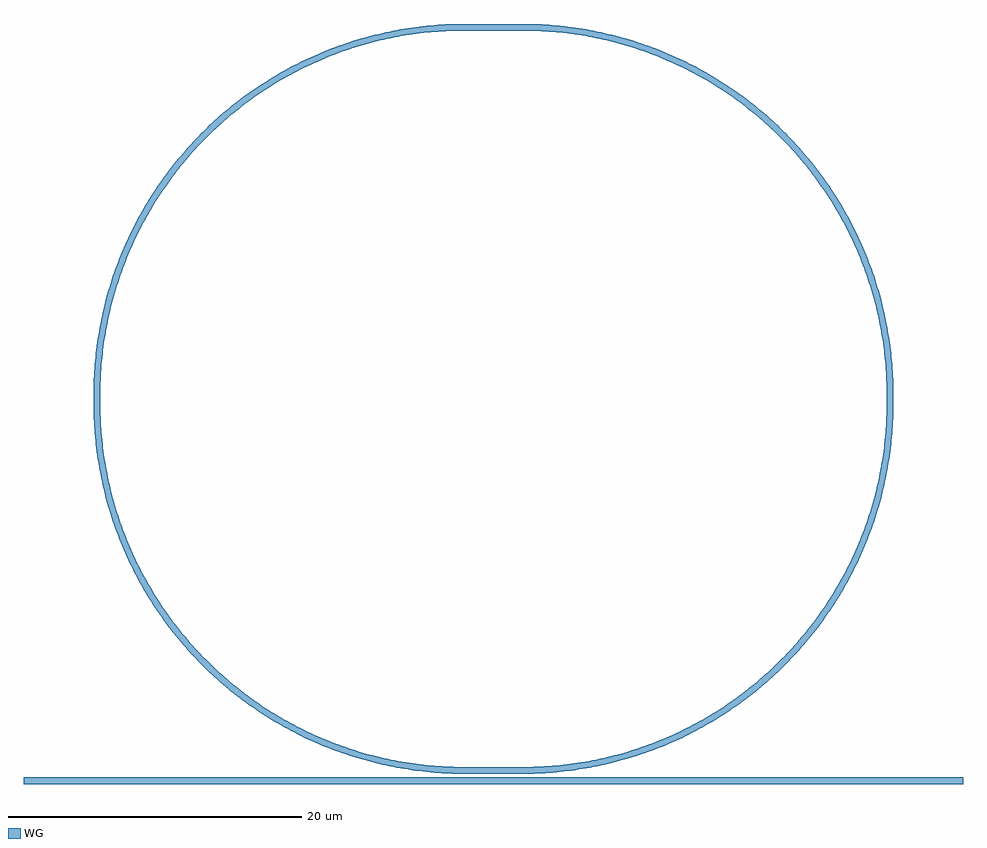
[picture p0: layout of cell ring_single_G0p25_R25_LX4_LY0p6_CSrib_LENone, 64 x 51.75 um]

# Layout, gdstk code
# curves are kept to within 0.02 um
from math import pi, radians
import gdstk
lib = gdstk.Library(unit=1e-6, precision=1e-09)
def R(c, l, rs):  # rectangles x0, y0, x1, y1
    for r in rs: c.add(gdstk.rectangle(r[:2], r[2:], *l))
def P(c, l, *ps):  # polygons
    for p in ps: c.add(gdstk.Polygon(p, *l))
WG = (3, 0)

coupler_ring_g0p25_r25_l = lib.new_cell('coupler_ring_G0p25_R25_LX4_Bbend_circular_Sstraight_CSrib_LE30')
R(coupler_ring_g0p25_r25_l, WG, [(-34,-0.225,30,0.225)])
P(coupler_ring_g0p25_r25_l, WG, [(-4,0.475),(-5.278,0.507),(-6.552,0.604),(-7.567,0.728),(-8.827,0.941),(-10.075,1.217),(-11.062,1.484),(-12.28,1.873),(-13.476,2.322),(-14.648,2.832),(-15.792,3.401),(-16.907,4.027),(-17.988,4.708),(-19.033,5.444),(-20.04,6.231),(-20.815,6.897),(-21.746,7.773),(-22.631,8.695),(-23.469,9.66),(-24.256,10.667),(-24.992,11.712),(-25.673,12.793),(-26.299,13.908),(-26.868,15.052),(-27.28,15.988),(-27.655,16.939),(-28.068,18.149),(-28.42,19.377),(-28.709,20.622),(-28.934,21.88),(-29.096,23.148),(-29.193,24.422),(-29.225,25.7),(-28.775,25.7),(-28.743,24.445),(-28.648,23.194),(-28.489,21.948),(-28.268,20.713),(-27.984,19.49),(-27.639,18.283),(-27.233,17.096),(-26.667,15.7),(-26.243,14.789),(-25.662,13.677),(-25.157,12.809),(-24.477,11.754),(-23.744,10.734),(-22.961,9.754),(-22.299,8.998),(-21.43,8.093),(-20.515,7.233),(-19.559,6.42),(-18.562,5.657),(-17.529,4.945),(-16.46,4.286),(-15.582,3.799),(-14.458,3.24),(-13.307,2.739),(-12.369,2.381),(-11.177,1.987),(-9.967,1.654),(-8.741,1.383),(-7.503,1.174),(-6.506,1.052),(-5.255,0.957),(-4,0.925),(0.502,0.93),(2.257,1.028),(3.503,1.174),(4.494,1.336),(5.723,1.595),(6.936,1.916),(8.132,2.298),(9.307,2.739),(10.685,3.347),(11.803,3.917),(12.891,4.543),(13.946,5.223),(14.966,5.956),(15.946,6.739),(16.886,7.571),(17.783,8.45),(18.634,9.373),(19.437,10.337),(20.19,11.341),(21.025,12.595),(21.662,13.677),(22.243,14.789),(22.767,15.93),(23.233,17.096),(23.639,18.283),(23.92,19.247),(24.268,20.713),(24.56,22.445),(24.713,23.944),(24.775,25.7),(25.225,25.7),(25.193,24.422),(25.068,22.894),(24.852,21.376),(24.601,20.123),(24.287,18.884),(23.91,17.662),(23.378,16.224),(22.868,15.052),(22.299,13.908),(21.673,12.793),(20.992,11.712),(20.103,10.463),(19.305,9.464),(18.458,8.507),(17.564,7.594),(16.431,6.56),(15.237,5.597),(14.2,4.851),(13.125,4.159),(12.018,3.522),(10.879,2.941),(9.476,2.322),(8.28,1.873),(7.062,1.484),(6.075,1.217),(4.827,0.941),(3.567,0.728),(2.298,0.58),(0.511,0.48)])

bend_circular_r25_a90_cs = lib.new_cell('bend_circular_R25_A90_CSrib')
P(bend_circular_r25_a90_cs, WG, [(0,-0.225),(0,0.225),(1.255,0.257),(2.506,0.352),(3.752,0.511),(4.987,0.732),(6.21,1.016),(7.417,1.361),(8.604,1.767),(10,2.333),(10.911,2.757),(12.023,3.338),(12.891,3.843),(13.946,4.523),(14.765,5.105),(15.753,5.879),(16.702,6.701),(17.43,7.393),(18.299,8.298),(18.961,9.054),(19.744,10.034),(20.477,11.054),(21.157,12.109),(21.662,12.977),(22.243,14.089),(22.667,15),(23.233,16.396),(23.639,17.583),(23.984,18.79),(24.268,20.013),(24.489,21.248),(24.648,22.494),(24.743,23.745),(24.775,25),(25.225,25),(25.193,23.722),(25.096,22.448),(24.972,21.433),(24.759,20.173),(24.483,18.925),(24.216,17.938),(23.827,16.72),(23.378,15.524),(22.868,14.352),(22.299,13.208),(21.673,12.093),(20.992,11.012),(20.256,9.967),(19.469,8.96),(18.803,8.185),(17.927,7.254),(17.005,6.369),(16.04,5.531),(15.033,4.744),(13.988,4.008),(12.907,3.327),(11.792,2.701),(10.648,2.132),(9.712,1.72),(8.761,1.345),(7.551,0.932),(6.323,0.58),(5.078,0.291),(3.82,0.066),(2.552,-0.096),(1.278,-0.193)])

straight_l4_csrib = lib.new_cell('straight_L4_CSrib')
R(straight_l4_csrib, WG, [(0,-0.225,4,0.225)])

straight_l0p6_csrib = lib.new_cell('straight_L0p6_CSrib')
R(straight_l0p6_csrib, WG, [(0,-0.225,0.6,0.225)])

ring_single_g0p25_r25_lx = lib.new_cell('ring_single_G0p25_R25_LX4_LY0p6_CSrib_LENone')
ring_single_g0p25_r25_lx.add(gdstk.Reference(coupler_ring_g0p25_r25_l, (0,0)))
ring_single_g0p25_r25_lx.add(gdstk.Reference(bend_circular_r25_a90_cs, (-4,51.3), rotation=pi))
ring_single_g0p25_r25_lx.add(gdstk.Reference(bend_circular_r25_a90_cs, (25,26.3), rotation=pi/2))
ring_single_g0p25_r25_lx.add(gdstk.Reference(straight_l4_csrib, (0,51.3), rotation=pi))
ring_single_g0p25_r25_lx.add(gdstk.Reference(straight_l0p6_csrib, (-29,25.7), rotation=pi/2))
ring_single_g0p25_r25_lx.add(gdstk.Reference(straight_l0p6_csrib, (25,26.3), rotation=3*pi/2))

lib.write_gds('ring_single_G0p25_R25_LX4_LY0p6_CSrib_LENone.gds')
